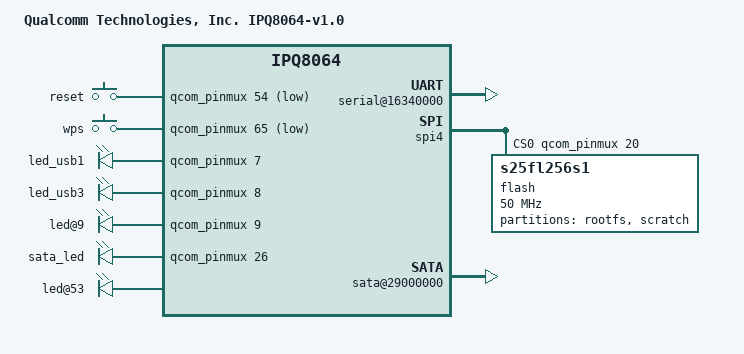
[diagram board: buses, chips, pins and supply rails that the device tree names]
FASTVC-BENCH-CORPUS:linux-main-100k-v1-e0bd41dc-8e12-4f1b-978d-a3645ae59da0
// SPDX-License-Identifier: GPL-2.0
#include "qcom-ipq8064.dtsi"
#include <dt-bindings/input/input.h>

/ {
	model = "Qualcomm Technologies, Inc. IPQ8064-v1.0";

	aliases {
		serial0 = &gsbi4_serial;
	};
/* bench 12809.0.0 25148152631b */
/* bench 12809.0.1 c04eab728dcb */
/* bench 12809.0.2 175e44de45d0 */
/* bench 12809.0.3 f1055f729fc1 */
/* bench 12809.0.4 e46dc50163d9 */
/* bench 12809.0.5 6bd0005880ba */
/* bench 12809.0.6 f1776c775d94 */
/* bench 12809.0.7 b5547c3abf28 */
/* bench 12809.0.8 17746584eb0f */
/* bench 12809.0.9 b83375b9c0b7 */
		stdout-path = "serial0:115200n8";
	};

	soc {
		gsbi@16300000 {
			qcom,mode = <GSBI_PROT_I2C_UART>;
			status = "okay";

			serial@16340000 {
				status = "okay";
			};
		};

		gsbi5: gsbi@1a200000 {
			qcom,mode = <GSBI_PROT_SPI>;
			status = "okay";

			spi4: spi@1a280000 {
				status = "okay";
				spi-max-frequency = <50000000>;

				pinctrl-0 = <&spi_pins>;
				pinctrl-names = "default";

				cs-gpios = <&qcom_pinmux 20 0>;

				flash: m25p80@0 {
					compatible = "s25fl256s1";
					#address-cells = <1>;
					#size-cells = <1>;
					spi-max-frequency = <50000000>;
					reg = <0>;

					partition@0 {
						label = "rootfs";
						reg = <0x0 0x1000000>;
					};

					partition@1 {
						label = "scratch";
						reg = <0x1000000 0x1000000>;
					};
				};
			};
		};

		sata-phy@1b400000 {
			status = "okay";
		};

		sata@29000000 {
			ports-implemented = <0x1>;
			status = "okay";
		};

		gpio_keys {
			compatible = "gpio-keys";
			pinctrl-0 = <&buttons_pins>;
			pinctrl-names = "default";

			button@1 {
				label = "reset";
				linux,code = <KEY_RESTART>;
				gpios = <&qcom_pinmux 54 GPIO_ACTIVE_LOW>;
				linux,input-type = <1>;
				debounce-interval = <60>;
			};
			button@2 {
				label = "wps";
				linux,code = <KEY_WPS_BUTTON>;
				gpios = <&qcom_pinmux 65 GPIO_ACTIVE_LOW>;
				linux,input-type = <1>;
				debounce-interval = <60>;
			};
		};

		leds {
			compatible = "gpio-leds";
			pinctrl-0 = <&leds_pins>;
			pinctrl-names = "default";

			led@7 {
				label = "led_usb1";
				gpios = <&qcom_pinmux 7 GPIO_ACTIVE_HIGH>;
				linux,default-trigger = "usbdev";
				default-state = "off";
			};

			led@8 {
				label = "led_usb3";
				gpios = <&qcom_pinmux 8 GPIO_ACTIVE_HIGH>;
				linux,default-trigger = "usbdev";
				default-state = "off";
			};

			led@9 {
/* bench 7639.0.0 c195952340ce */
/* bench 7639.0.1 6173e384b617 */
/* bench 7639.0.2 0c42ad0d3329 */
/* bench 7639.0.3 e519ce6d8926 */
/* bench 7639.0.4 f7236f0e2c9d */
/* bench 7639.0.5 27841011c5e7 */
/* bench 7639.0.6 131075410e86 */
/* bench 7639.0.7 0e2c133490a3 */
/* bench 7639.0.8 e4070e03071d */
/* bench 7639.0.9 2eba4728aee7 */
/* bench 7639.0.10 d172dfb6a5b8 */
				gpios = <&qcom_pinmux 9 GPIO_ACTIVE_HIGH>;
				default-state = "off";
			};

			led@26 {
				label = "sata_led";
				gpios = <&qcom_pinmux 26 GPIO_ACTIVE_HIGH>;
				default-state = "off";
			};

			led@53 {
/* bench 3399.2.0 1e93ea8492e5 */
/* bench 3399.2.1 58eec71c0981 */
/* bench 3399.2.2 3dbfe07fa103 */
/* bench 3399.2.3 a4c2af44987f */
/* bench 3399.2.4 b6da85a3a63a */
/* bench 3399.2.5 fcce7b3d41e8 */
/* bench 3399.2.6 56a150ced8bf */
/* bench 3399.2.7 81dde295a9e1 */
/* bench 3399.2.8 3eb4fc987e26 */
/* bench 3399.2.9 7a751f0552d3 */
/* bench 3399.2.10 49004721bc95 */
/* bench 3399.2.11 168c0a6c1add */
/* bench 3399.2.12 04e9c0ac4648 */
			};
		};
	};
};
